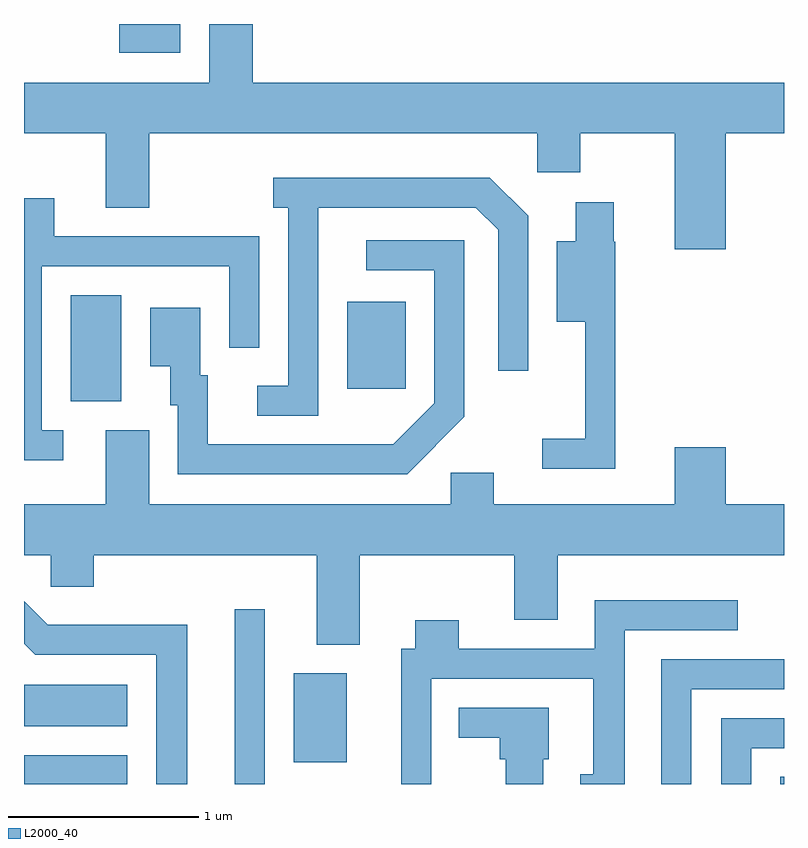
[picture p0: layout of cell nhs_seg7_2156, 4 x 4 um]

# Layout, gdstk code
import gdstk
lib = gdstk.Library(unit=1e-6, precision=1e-09)
def R(c, l, rs):  # rectangles x0, y0, x1, y1
    for r in rs: c.add(gdstk.rectangle(r[:2], r[2:], *l))
def P(c, l, *ps):  # polygons
    for p in ps: c.add(gdstk.Polygon(p, *l))
L2000_40 = (2000, 40)

nhs_seg7_2156 = lib.new_cell('nhs_seg7_2156')
R(nhs_seg7_2156, L2000_40, [(251.611,1684.252,252.154,1684.404), (252.721,1684.252,252.879,1685.173), (255.591,1684.252,255.611,1684.289), (253.031,1684.366,253.309,1684.834), (251.611,1684.556,252.154,1684.774), (251.856,1686.266,252.124,1686.824), (253.311,1686.331,253.619,1686.789), (252.113,1688.101,252.434,1688.252)])
P(nhs_seg7_2156, L2000_40, [(255.304,1687.676),(255.611,1687.676),(255.611,1687.944),(252.814,1687.944),(252.814,1688.252),(252.586,1688.252),(252.586,1687.944),(251.611,1687.944),(251.611,1687.676),(252.041,1687.676),(252.041,1687.286),(252.269,1687.286),(252.269,1687.676),(254.311,1687.676),(254.311,1687.471),(254.539,1687.471),(254.539,1687.676),(255.036,1687.676),(255.036,1687.066),(255.304,1687.066)],
  [(253.159,1687.286),(253.989,1687.286),(254.106,1687.169),(254.106,1686.428),(254.264,1686.428),(254.264,1687.242),(254.062,1687.444),(252.923,1687.444),(252.923,1687.286),(253.001,1687.286),(253.001,1686.349),(252.838,1686.349),(252.838,1686.191),(253.159,1686.191)],
  [(251.818,1686.114),(251.704,1686.114),(251.704,1686.976),(252.691,1686.976),(252.691,1686.548),(252.849,1686.548),(252.849,1687.134),(251.769,1687.134),(251.769,1687.334),(251.611,1687.334),(251.611,1685.956),(251.818,1685.956)],
  [(254.724,1687.105),(254.714,1687.105),(254.714,1687.314),(254.516,1687.314),(254.516,1687.109),(254.416,1687.109),(254.416,1686.686),(254.566,1686.686),(254.566,1686.069),(254.338,1686.069),(254.338,1685.911),(254.724,1685.911)],
  [(253.929,1686.184),(253.929,1687.114),(253.413,1687.114),(253.413,1686.956),(253.771,1686.956),(253.771,1686.257),(253.554,1686.039),(252.579,1686.039),(252.579,1686.404),(252.539,1686.404),(252.539,1686.759),(252.276,1686.759),(252.276,1686.451),(252.381,1686.451),(252.381,1686.246),(252.421,1686.246),(252.421,1685.881),(253.627,1685.881)],
  [(252.269,1686.114),(252.041,1686.114),(252.041,1685.724),(251.611,1685.724),(251.611,1685.456),(251.751,1685.456),(251.751,1685.291),(251.979,1685.291),(251.979,1685.456),(253.151,1685.456),(253.151,1684.986),(253.379,1684.986),(253.379,1685.456),(254.191,1685.456),(254.191,1685.116),(254.419,1685.116),(254.419,1685.456),(255.611,1685.456),(255.611,1685.724),(255.304,1685.724),(255.304,1686.024),(255.036,1686.024),(255.036,1685.724),(254.084,1685.724),(254.084,1685.889),(253.856,1685.889),(253.856,1685.724),(252.269,1685.724)],
  [(253.754,1684.806),(254.606,1684.806),(254.606,1684.304),(254.538,1684.304),(254.538,1684.252),(254.774,1684.252),(254.774,1685.061),(255.368,1685.061),(255.368,1685.219),(254.616,1685.219),(254.616,1684.964),(253.899,1684.964),(253.899,1685.114),(253.671,1685.114),(253.671,1684.964),(253.596,1684.964),(253.596,1684.252),(253.754,1684.252)],
  [(252.469,1685.089),(251.737,1685.089),(251.611,1685.215),(251.611,1684.989),(251.669,1684.931),(252.306,1684.931),(252.306,1684.252),(252.469,1684.252)],
  [(255.124,1684.751),(255.611,1684.751),(255.611,1684.909),(254.966,1684.909),(254.966,1684.252),(255.124,1684.252)],
  [(254.344,1684.381),(254.374,1684.381),(254.374,1684.654),(253.898,1684.654),(253.898,1684.496),(254.116,1684.496),(254.116,1684.381),(254.146,1684.381),(254.146,1684.252),(254.344,1684.252)],
  [(255.439,1684.441),(255.611,1684.441),(255.611,1684.599),(255.281,1684.599),(255.281,1684.252),(255.439,1684.252)])

lib.write_gds('nhs_seg7_2156.gds')
